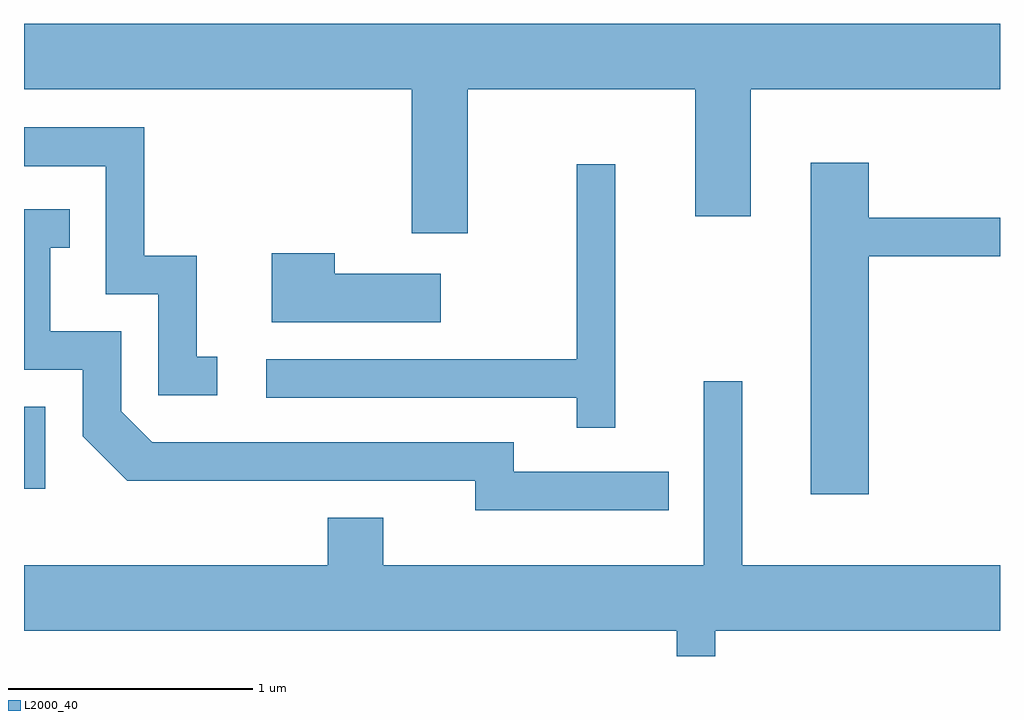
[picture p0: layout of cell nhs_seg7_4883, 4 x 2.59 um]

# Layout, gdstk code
import gdstk
lib = gdstk.Library(unit=1e-6, precision=1e-09)
def R(c, l, rs):  # rectangles x0, y0, x1, y1
    for r in rs: c.add(gdstk.rectangle(r[:2], r[2:], *l))
def P(c, l, *ps):  # polygons
    for p in ps: c.add(gdstk.Polygon(p, *l))
L2000_40 = (2000, 40)

nhs_seg7_4883 = lib.new_cell('nhs_seg7_4883')
R(nhs_seg7_4883, L2000_40, [(335.611,1674.938,335.699,1675.274)])
P(nhs_seg7_4883, L2000_40, [(337.429,1676.576),(338.361,1676.576),(338.361,1676.056),(338.589,1676.056),(338.589,1676.576),(339.611,1676.576),(339.611,1676.844),(335.611,1676.844),(335.611,1676.576),(337.201,1676.576),(337.201,1675.986),(337.429,1675.986)],
  [(336.403,1675.479),(336.319,1675.479),(336.319,1675.894),(336.104,1675.894),(336.104,1676.419),(335.611,1676.419),(335.611,1676.261),(335.946,1676.261),(335.946,1675.736),(336.161,1675.736),(336.161,1675.321),(336.403,1675.321)],
  [(339.074,1675.891),(339.611,1675.891),(339.611,1676.049),(339.074,1676.049),(339.074,1676.274),(338.836,1676.274),(338.836,1674.916),(339.074,1674.916)],
  [(338.034,1676.268),(337.876,1676.268),(337.876,1675.469),(336.603,1675.469),(336.603,1675.311),(337.876,1675.311),(337.876,1675.188),(338.034,1675.188)],
  [(338.253,1675.009),(337.619,1675.009),(337.619,1675.129),(336.137,1675.129),(336.009,1675.257),(336.009,1675.584),(335.719,1675.584),(335.719,1675.926),(335.798,1675.926),(335.798,1676.084),(335.611,1676.084),(335.611,1675.426),(335.851,1675.426),(335.851,1675.154),(336.034,1674.971),(337.461,1674.971),(337.461,1674.851),(338.253,1674.851)],
  [(337.319,1675.819),(336.884,1675.819),(336.884,1675.904),(336.626,1675.904),(336.626,1675.621),(337.319,1675.621)],
  [(338.444,1674.356),(339.611,1674.356),(339.611,1674.624),(338.554,1674.624),(338.554,1675.378),(338.396,1675.378),(338.396,1674.624),(337.084,1674.624),(337.084,1674.819),(336.856,1674.819),(336.856,1674.624),(335.611,1674.624),(335.611,1674.356),(338.286,1674.356),(338.286,1674.252),(338.444,1674.252)])

lib.write_gds('nhs_seg7_4883.gds')
